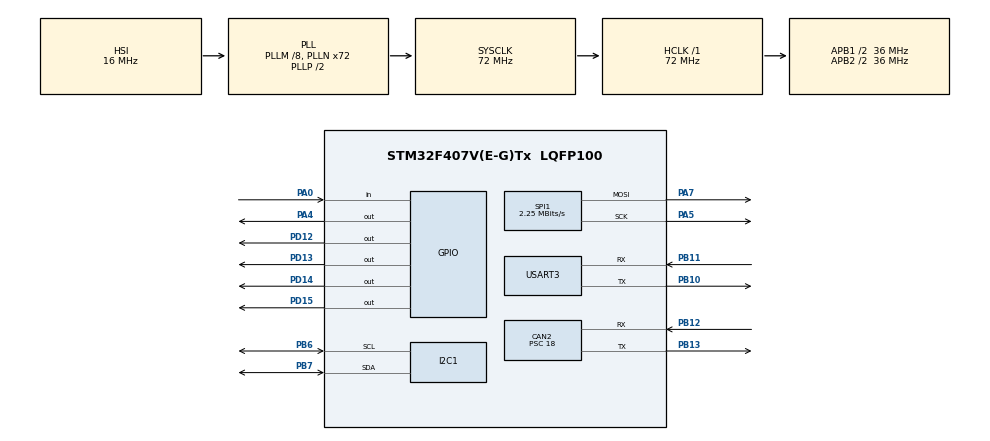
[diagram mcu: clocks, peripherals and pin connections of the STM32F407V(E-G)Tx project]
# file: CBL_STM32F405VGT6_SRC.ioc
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CAN2.BS1=CAN_BS1_10TQ
CAN2.BS2=CAN_BS2_5TQ
CAN2.CalculateBaudRate=125000
CAN2.CalculateTimeBit=8000
CAN2.CalculateTimeQuantum=500.0
CAN2.Prescaler=18
Mcu.Family=STM32F4
Mcu.Name=STM32F407V(E-G)Tx
Mcu.Package=LQFP100
NVIC.PriorityGroup=NVIC_PRIORITYGROUP_0
PA0-WKUP.Signal=GPIO_Input
PA4.Signal=GPIO_Output
PA5.Mode=TX_Only_Simplex_Unidirect_Master
PA5.Signal=SPI1_SCK
PA7.Mode=TX_Only_Simplex_Unidirect_Master
PA7.Signal=SPI1_MOSI
PB10.Mode=Asynchronous
PB10.Signal=USART3_TX
PB11.Mode=Asynchronous
PB11.Signal=USART3_RX
PB12.Mode=CAN_Activate
PB12.Signal=CAN2_RX
PB13.Mode=CAN_Activate
PB13.Signal=CAN2_TX
PB6.Mode=I2C
PB6.Signal=I2C1_SCL
PB7.Mode=I2C
PB7.Signal=I2C1_SDA
PD12.Signal=GPIO_Output
PD13.Signal=GPIO_Output
PD14.Signal=GPIO_Output
PD15.Signal=GPIO_Output
ProjectManager.HeapSize=0x200
ProjectManager.StackSize=0x400
ProjectManager.TargetToolchain=STM32CubeIDE
RCC.48MHZClocksFreq_Value=20571428.57142857
RCC.AHBFreq_Value=72000000
RCC.APB1CLKDivider=RCC_HCLK_DIV2
RCC.APB1Freq_Value=36000000
RCC.APB1TimFreq_Value=72000000
RCC.APB2CLKDivider=RCC_HCLK_DIV2
RCC.APB2Freq_Value=36000000
RCC.APB2TimFreq_Value=72000000
RCC.CortexFreq_Value=72000000
RCC.HCLKFreq_Value=72000000
RCC.HSE_VALUE=8000000
RCC.HSI_VALUE=16000000
RCC.LSE_VALUE=32768
RCC.PLLM=8
RCC.PLLN=72
RCC.PLLQ=7
RCC.SYSCLKFreq_VALUE=72000000
RCC.SYSCLKSource=RCC_SYSCLKSOURCE_PLLCLK
RCC.VCOOutputFreq_Value=144000000
SPI1.BaudRatePrescaler=SPI_BAUDRATEPRESCALER_16
SPI1.CalculateBaudRate=2.25 MBits/s
SPI1.Direction=SPI_DIRECTION_2LINES
SPI1.Mode=SPI_MODE_MASTER
SPI1.VirtualType=VM_MASTER
USART3.VirtualMode=VM_ASYNC
VP_CRC_VS_CRC.Mode=CRC_Activate
board=STM32F407G-DISC1

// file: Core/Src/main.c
/* USER CODE BEGIN Header */
/**
  ******************************************************************************
  * @file           : main.c
  * @brief          : Main program body
  ******************************************************************************
  * @attention
  *
  * Copyright (c) 2025 STMicroelectronics.
  * All rights reserved.
  *
  * This software is licensed under terms that can be found in the LICENSE file
  * in the root directory of this software component.
  * If no LICENSE file comes with this software, it is provided AS-IS.
  *
  ******************************************************************************
  */
/* USER CODE END Header */
#include "main.h"

/* USER CODE BEGIN Includes */
#include <string.h>
#include <stdio.h>
#include "lcd16x2_i2c.h"
/* USER CODE END Includes */

CAN_HandleTypeDef hcan2;

CRC_HandleTypeDef hcrc;

I2C_HandleTypeDef hi2c1;

SPI_HandleTypeDef hspi1;

UART_HandleTypeDef huart3;

void SystemClock_Config(void);
static void MX_GPIO_Init(void);
static void MX_USART3_UART_Init(void);
static void MX_CAN2_Init(void);
static void MX_CRC_Init(void);
static void MX_I2C1_Init(void);
static void MX_SPI1_Init(void);

/* USER CODE BEGIN 0 */
char DataBuffer[64];

// define a global buffer(array) of size 200 to hold received command packet
#define BL_RX_LEN  200
uint8_t bl_rx_buffer[BL_RX_LEN];

/* BL Commands */
#define BL_GET_VER					0x51
#define BL_GET_HELP					0x52
#define BL_GET_CID					0x53
#define BL_GET_RDP_STATUS			0x54
#define BL_GO_TO_ADDR				0x55
#define BL_FLASH_ERASE          	0x56
#define BL_MEM_WRITE				0x57

/* CAN DEBUG MSG send Fun */
void CAN_Send_64Bytes(uint16_t msg_id, char *pDataBuffer);

uint8_t bootloader_verify_crc (uint8_t *pData, uint32_t len, uint32_t crc_host);
void bootloader_send_ack(uint8_t command_code, uint8_t follow_len);
void bootloader_send_nack(void);
uint8_t get_bootloader_version(void);
void bootloader_uart_write_data(uint8_t *pBuffer,uint32_t len);
void bootloader_handle_getver_cmd(uint8_t *pbl_rx_buffer);

// BL supported cmd codes
uint8_t supported_commands[] =
{
      BL_GET_VER ,						//command code: 0x51
      BL_GET_HELP,						//command code: 0x52
      BL_GET_CID,						//command code: 0x53
      BL_GET_RDP_STATUS,				//command code: 0x54
      BL_GO_TO_ADDR,					//command code: 0x55
      BL_FLASH_ERASE,					//command code: 0x56
      BL_MEM_WRITE,						//command code: 0x57
      //BL_READ_SECTOR_P_STATUS			//command code: 0x08
};
void bootloader_handle_gethelp_cmd(uint8_t *pBuffer);

uint16_t get_mcu_chip_id(void);
void bootloader_handle_getcid_cmd(uint8_t *pBuffer);

uint8_t get_flash_rdp_level(void);
void bootloader_handle_getrdp_cmd(uint8_t *pBuffer);

#define ADDR_VALID 				0x00
#define ADDR_INVALID 			0x01
#define INVALID_SECTOR 			0x04

/* Start and End addresses of different memories of STM32F407VGT6 MCU */
#define SRAM1_SIZE            (112*1024)     								// STM32F407VGT6 has 112KB of SRAM1
#define SRAM1_END             (SRAM1_BASE + SRAM1_SIZE)
#define SRAM2_SIZE            (16*1024)     								// STM32F407VGT6 has 16KB of SRAM2
#define SRAM2_END             (SRAM2_BASE + SRAM2_SIZE)
#define FLASH_SIZE            (1024*1024)     								// STM32F407VGT6 has 1MB(1024KB) of Internal/Embedded Flash Memory

#define BKPSRAM_SIZE          (4*1024)     									// STM32F407VGT6 has 4KB of Backup SRAM
#define BKPSRAM_END           (BKPSRAM_BASE + BKPSRAM_SIZE)

uint8_t verify_address(uint32_t go_address);
void bootloader_handle_go_cmd(uint8_t *pBuffer);

uint8_t execute_flash_erase(uint8_t sector_number , uint8_t number_of_sector);
void bootloader_handle_flash_erase_cmd(uint8_t *pBuffer);

uint8_t execute_mem_write(uint8_t *pBuffer, uint32_t mem_address, uint32_t len);
void bootloader_handle_mem_write_cmd(uint8_t *pBuffer);

void bootloader_uart_read_data(void)
{
	uint8_t rcv_len = 0;

	while(1)
	{
		// here we will read and decode the commands coming from host
		memset(bl_rx_buffer,0,200);

		// 1. first read only one byte from the host , which is the "length" field of the command packet
		HAL_UART_Receive(&huart3, bl_rx_buffer, 1, HAL_MAX_DELAY);
		rcv_len = bl_rx_buffer[0];
		// then read actual command packet of "len" number of bytes in bl_rx_buffer[1] onwards (cmd code + crc bytes + other required data if any!)
		HAL_UART_Receive(&huart3, &bl_rx_buffer[1], rcv_len, HAL_MAX_DELAY);

		// switch to respective handler fun as per recived cmd code
		// 2. bl_rx_buffer[1] holds "cmd code" field of the command packet.
		switch(bl_rx_buffer[1])
		//@@
		{
			case BL_GET_VER:
				 // pass the complete received bl cmd from host:
				 bootloader_handle_getver_cmd(bl_rx_buffer);  		// HAL_CRC_Accumulate, ok
		 		 break;
			case BL_GET_HELP:
				bootloader_handle_gethelp_cmd(bl_rx_buffer);   		// ok
				break;
			case BL_GET_CID:
				bootloader_handle_getcid_cmd(bl_rx_buffer);	    	// ok
				break;
			case BL_GET_RDP_STATUS:
				bootloader_handle_getrdp_cmd(bl_rx_buffer);	    	// ok
				break;
			case BL_GO_TO_ADDR:
				bootloader_handle_go_cmd(bl_rx_buffer);		    	// ok. but code doesn't run?
				break;
			case BL_FLASH_ERASE:
				bootloader_handle_flash_erase_cmd(bl_rx_buffer); 	// ok. Uses HAL_FLASHEx_Erase API internally
				break;
			case BL_MEM_WRITE:
				bootloader_handle_mem_write_cmd(bl_rx_buffer);  	// nok. Uses HAL_FLASH_UNLOCK -> HAL_FLASH_Program -> HAL_FLASH_UNLOCK APIs internally
				break;
			default:
				//printf("BL_DEBUG_MSG: Invalid command code received from host\n");
				sprintf(DataBuffer, "Invalid command code received from host \n\r");
				break;
		}
	}
}

#define USER_APP_ADDR  0x08008000
//typedef void (*pFunction)(void);
void (*pFunction)(void);
void bootloader_jump_to_user_app(void)
{
    uint32_t msp_value     = *((volatile uint32_t*)(USER_APP_ADDR));          // 1. Load initial MSP
    uint32_t reset_handler = *((volatile uint32_t*)(USER_APP_ADDR+4));        // 2. Load Reset_Handler

    __disable_irq();  				// Important: stop any pending interrupts

    __set_MSP(msp_value);          // 3. Set stack pointer
    SCB->VTOR = USER_APP_ADDR;     // 4. Relocate vector table

    //pFunction JumpToApp = (pFunction) reset_handler;
    //JumpToApp();                   // 5. Jump to user application
    pFunction = (void(*)(void))reset_handler;
    pFunction();
}

/* CRC check status: Failed/Success */
#define VERIFY_CRC_FAIL    		1
#define VERIFY_CRC_SUCCESS 		0

/* ACK and NACK identification bytes */
#define BL_ACK   				0XA5
#define BL_NACK  				0X7F

// version 1.0
#define BL_VERSION 0x10

void SPI1_WriteData(char *pDataBuffer)
{
	uint8_t lenDataBuffer = strlen(pDataBuffer);
	HAL_GPIO_WritePin(GPIOA, GPIO_PIN_4, GPIO_PIN_RESET); // NSS = LOW
	HAL_SPI_Transmit(&hspi1, &lenDataBuffer, 1, HAL_MAX_DELAY);
	HAL_SPI_Transmit(&hspi1, (uint8_t*)pDataBuffer, lenDataBuffer, HAL_MAX_DELAY);
	HAL_GPIO_WritePin(GPIOA, GPIO_PIN_4, GPIO_PIN_SET); // NSS = HIGH
	//HAL_Delay(500);
}
/* USER CODE END 0 */

int main(void)
{

  /* MCU Configuration--------------------------------------------------------*/

  /* Reset of all peripherals, Initializes the Flash interface and the Systick. */
  HAL_Init();

  /* Configure the system clock */
  SystemClock_Config();

  /* Initialize all configured peripherals */
  MX_GPIO_Init();
  MX_USART3_UART_Init();
  MX_CAN2_Init();
  MX_CRC_Init();
  MX_I2C1_Init();
  MX_SPI1_Init();
  /* USER CODE BEGIN 2 */
  lcd16x2_i2c_init(&hi2c1);
  lcd16x2_i2c_1stLine();					//lcd16x2_i2c_setCursor(0, 0);
  lcd16x2_i2c_printf("BL Application");
  lcd16x2_i2c_2ndLine();					//lcd16x2_i2c_setCursor(1, 0);
  lcd16x2_i2c_printf("is running ....");
  SPI1_WriteData("Bootloader code is running...");
  HAL_CAN_Start(&hcan2);

  //bootloader_jump_to_user_app();
  if(HAL_GPIO_ReadPin(GPIOA, GPIO_PIN_0) == GPIO_PIN_SET){			// continue in bootloader mode for IAP and ... atcivities
  	  HAL_GPIO_WritePin(GPIOD, GPIO_PIN_15, GPIO_PIN_SET);
	  sprintf(DataBuffer, "BL_DEBUG_MSG: BL is running...\n\r");
	  //SPI1_WriteData(DataBuffer);
	  CAN_Send_64Bytes(0x123, DataBuffer);
  	  bootloader_uart_read_data();
    }else{															// jump to user appln
  	  HAL_GPIO_WritePin(GPIOD, GPIO_PIN_12, GPIO_PIN_SET);
  	  sprintf(DataBuffer, "BL_DEBUG_MSG: Jumping to user Appln...\n\r");
  	  //SPI1_WriteData(DataBuffer);
  	  CAN_Send_64Bytes(0x123, DataBuffer);
  	  bootloader_jump_to_user_app();
    }
  /* USER CODE END 2 */

  /* Infinite loop */
  while (1)
  {

  }
}

void SystemClock_Config(void)
{
  RCC_OscInitTypeDef RCC_OscInitStruct = {0};
  RCC_ClkInitTypeDef RCC_ClkInitStruct = {0};

  /** Configure the main internal regulator output voltage
  */
  __HAL_RCC_PWR_CLK_ENABLE();
  __HAL_PWR_VOLTAGESCALING_CONFIG(PWR_REGULATOR_VOLTAGE_SCALE1);

  /** Initializes the RCC Oscillators according to the specified parameters
  * in the RCC_OscInitTypeDef structure.
  */
  RCC_OscInitStruct.OscillatorType = RCC_OSCILLATORTYPE_HSI;
  RCC_OscInitStruct.HSIState = RCC_HSI_ON;
  RCC_OscInitStruct.HSICalibrationValue = RCC_HSICALIBRATION_DEFAULT;
  RCC_OscInitStruct.PLL.PLLState = RCC_PLL_ON;
  RCC_OscInitStruct.PLL.PLLSource = RCC_PLLSOURCE_HSI;
  RCC_OscInitStruct.PLL.PLLM = 8;
  RCC_OscInitStruct.PLL.PLLN = 72;
  RCC_OscInitStruct.PLL.PLLP = RCC_PLLP_DIV2;
  RCC_OscInitStruct.PLL.PLLQ = 7;
  if (HAL_RCC_OscConfig(&RCC_OscInitStruct) != HAL_OK)
  {
    Error_Handler();
  }

  /** Initializes the CPU, AHB and APB buses clocks
  */
  RCC_ClkInitStruct.ClockType = RCC_CLOCKTYPE_HCLK|RCC_CLOCKTYPE_SYSCLK
                              |RCC_CLOCKTYPE_PCLK1|RCC_CLOCKTYPE_PCLK2;
  RCC_ClkInitStruct.SYSCLKSource = RCC_SYSCLKSOURCE_PLLCLK;
  RCC_ClkInitStruct.AHBCLKDivider = RCC_SYSCLK_DIV1;
  RCC_ClkInitStruct.APB1CLKDivider = RCC_HCLK_DIV2;
  RCC_ClkInitStruct.APB2CLKDivider = RCC_HCLK_DIV2;

  if (HAL_RCC_ClockConfig(&RCC_ClkInitStruct, FLASH_LATENCY_2) != HAL_OK)
  {
    Error_Handler();
  }
}

static void MX_CAN2_Init(void)
{

  hcan2.Instance = CAN2;
  hcan2.Init.Prescaler = 18;
  hcan2.Init.Mode = CAN_MODE_NORMAL;
  hcan2.Init.SyncJumpWidth = CAN_SJW_1TQ;
  hcan2.Init.TimeSeg1 = CAN_BS1_10TQ;
  hcan2.Init.TimeSeg2 = CAN_BS2_5TQ;
  hcan2.Init.TimeTriggeredMode = DISABLE;
  hcan2.Init.AutoBusOff = DISABLE;
  hcan2.Init.AutoWakeUp = DISABLE;
  hcan2.Init.AutoRetransmission = DISABLE;
  hcan2.Init.ReceiveFifoLocked = DISABLE;
  hcan2.Init.TransmitFifoPriority = DISABLE;
  if (HAL_CAN_Init(&hcan2) != HAL_OK)
  {
    Error_Handler();
  }

}

static void MX_CRC_Init(void)
{

  hcrc.Instance = CRC;
  if (HAL_CRC_Init(&hcrc) != HAL_OK)
  {
    Error_Handler();
  }

}

static void MX_I2C1_Init(void)
{

  hi2c1.Instance = I2C1;
  hi2c1.Init.ClockSpeed = 100000;
  hi2c1.Init.DutyCycle = I2C_DUTYCYCLE_2;
  hi2c1.Init.OwnAddress1 = 0;
  hi2c1.Init.AddressingMode = I2C_ADDRESSINGMODE_7BIT;
  hi2c1.Init.DualAddressMode = I2C_DUALADDRESS_DISABLE;
  hi2c1.Init.OwnAddress2 = 0;
  hi2c1.Init.GeneralCallMode = I2C_GENERALCALL_DISABLE;
  hi2c1.Init.NoStretchMode = I2C_NOSTRETCH_DISABLE;
  if (HAL_I2C_Init(&hi2c1) != HAL_OK)
  {
    Error_Handler();
  }

}

static void MX_SPI1_Init(void)
{

  /* SPI1 parameter configuration*/
  hspi1.Instance = SPI1;
  hspi1.Init.Mode = SPI_MODE_MASTER;
  hspi1.Init.Direction = SPI_DIRECTION_2LINES;
  hspi1.Init.DataSize = SPI_DATASIZE_8BIT;
  hspi1.Init.CLKPolarity = SPI_POLARITY_LOW;
  hspi1.Init.CLKPhase = SPI_PHASE_1EDGE;
  hspi1.Init.NSS = SPI_NSS_SOFT;
  hspi1.Init.BaudRatePrescaler = SPI_BAUDRATEPRESCALER_16;
  hspi1.Init.FirstBit = SPI_FIRSTBIT_MSB;
  hspi1.Init.TIMode = SPI_TIMODE_DISABLE;
  hspi1.Init.CRCCalculation = SPI_CRCCALCULATION_DISABLE;
  hspi1.Init.CRCPolynomial = 10;
  if (HAL_SPI_Init(&hspi1) != HAL_OK)
  {
    Error_Handler();
  }

}

static void MX_USART3_UART_Init(void)
{

  huart3.Instance = USART3;
  huart3.Init.BaudRate = 115200;
  huart3.Init.WordLength = UART_WORDLENGTH_8B;
  huart3.Init.StopBits = UART_STOPBITS_1;
  huart3.Init.Parity = UART_PARITY_NONE;
  huart3.Init.Mode = UART_MODE_TX_RX;
  huart3.Init.HwFlowCtl = UART_HWCONTROL_NONE;
  huart3.Init.OverSampling = UART_OVERSAMPLING_16;
  if (HAL_UART_Init(&huart3) != HAL_OK)
  {
    Error_Handler();
  }

}

static void MX_GPIO_Init(void)
{
  GPIO_InitTypeDef GPIO_InitStruct = {0};

  /* GPIO Ports Clock Enable */
  __HAL_RCC_GPIOA_CLK_ENABLE();
  __HAL_RCC_GPIOB_CLK_ENABLE();
  __HAL_RCC_GPIOD_CLK_ENABLE();

  /*Configure GPIO pin Output Level */
  HAL_GPIO_WritePin(GPIOA, GPIO_PIN_4, GPIO_PIN_RESET);

  /*Configure GPIO pin Output Level */
  HAL_GPIO_WritePin(GPIOD, GPIO_PIN_12|GPIO_PIN_13|GPIO_PIN_14|GPIO_PIN_15, GPIO_PIN_RESET);

  /*Configure GPIO pin : PA0 */
  GPIO_InitStruct.Pin = GPIO_PIN_0;
  GPIO_InitStruct.Mode = GPIO_MODE_INPUT;
  GPIO_InitStruct.Pull = GPIO_NOPULL;
  HAL_GPIO_Init(GPIOA, &GPIO_InitStruct);

  /*Configure GPIO pin : PA4 */
  GPIO_InitStruct.Pin = GPIO_PIN_4;
  GPIO_InitStruct.Mode = GPIO_MODE_OUTPUT_PP;
  GPIO_InitStruct.Pull = GPIO_NOPULL;
  GPIO_InitStruct.Speed = GPIO_SPEED_FREQ_LOW;
  HAL_GPIO_Init(GPIOA, &GPIO_InitStruct);

  /*Configure GPIO pins : PD12 PD13 PD14 PD15 */
  GPIO_InitStruct.Pin = GPIO_PIN_12|GPIO_PIN_13|GPIO_PIN_14|GPIO_PIN_15;
  GPIO_InitStruct.Mode = GPIO_MODE_OUTPUT_PP;
  GPIO_InitStruct.Pull = GPIO_NOPULL;
  GPIO_InitStruct.Speed = GPIO_SPEED_FREQ_LOW;
  HAL_GPIO_Init(GPIOD, &GPIO_InitStruct);

}

/* USER CODE BEGIN 4 */
void CAN_Send_64Bytes(uint16_t msg_id, char *pDataBuffer)
{
	CAN_TxHeaderTypeDef TxHeader;
	uint32_t TxMailbox;

    TxHeader.StdId = msg_id;        // CAN ID
    TxHeader.RTR = CAN_RTR_DATA;
    TxHeader.IDE = CAN_ID_STD;
    TxHeader.DLC = 8;              // Always sending 8 bytes
    TxHeader.TransmitGlobalTime = DISABLE;

    for (int i = 0; i < 64; i += 8)
    {
        // Take 8 bytes from array
        uint8_t TxData[8];
        for (int j = 0; j < 8; j++)
        {
            TxData[j] = pDataBuffer[i + j];
        }

        // Send frame
        if (HAL_CAN_AddTxMessage(&hcan2, &TxHeader, TxData, &TxMailbox) != HAL_OK)
        {
            // Handle transmission error
        }

        // Optional: wait for Tx complete before sending next
        while (HAL_CAN_IsTxMessagePending(&hcan2, TxMailbox));
    }
}

// This verifies the CRC of the given buffer in pData .
uint8_t bootloader_verify_crc (uint8_t *pData, uint32_t len, uint32_t crc_host)
{
    uint32_t uwCRCValue = 0xff;

    for (uint32_t i=0 ; i < len ; i++)
	{
        uint32_t i_data = pData[i];
        uwCRCValue = HAL_CRC_Accumulate(&hcrc, &i_data, 1);
	}

	 /* Reset CRC Calculation Unit */
     __HAL_CRC_DR_RESET(&hcrc);

	if( uwCRCValue == crc_host)
	{
		return VERIFY_CRC_SUCCESS;
	}
	return VERIFY_CRC_FAIL;
}
/*This function sends ACK if CRC matches along with "len to follow"*/
void bootloader_send_ack(uint8_t command_code, uint8_t follow_len)
{
	 // here we send 2 byte.. first byte is ack and the second byte is len value
	uint8_t ack_buf[2];
	ack_buf[0] = BL_ACK;
	ack_buf[1] = follow_len;
	HAL_UART_Transmit(&huart3, ack_buf, 2, HAL_MAX_DELAY);
}
/*This function sends NACK */
void bootloader_send_nack(void)
{
	uint8_t nack = BL_NACK;
	HAL_UART_Transmit(&huart3, &nack, 1, HAL_MAX_DELAY);
}
/* Just returns the BL_VERSION macro value */
uint8_t get_bootloader_version(void)
{
  return (uint8_t)BL_VERSION;
}
/* This function writes data in to C_UART */
void bootloader_uart_write_data(uint8_t *pBuffer,uint32_t len)
{
    /*you can replace the below ST's USART driver API call with your MCUs driver API call */
	HAL_UART_Transmit(&huart3, pBuffer, len, HAL_MAX_DELAY);
}
/* Note: p_bl_rx_buffer has "ptr to the whole cmd packet" received from host */
void bootloader_handle_getver_cmd(uint8_t *pbl_rx_buffer)
{
	uint8_t bl_version;

	// 1. get the value of cmd packet len
	uint32_t command_packet_len = pbl_rx_buffer[0]+1;
	// 2. extract the value of host crc
	uint32_t host_crc = *((uint32_t * )(pbl_rx_buffer + command_packet_len - 4));

	// 3. verify checksum (crc check)
	if (!bootloader_verify_crc(&pbl_rx_buffer[0], command_packet_len-4, host_crc))
	{
			sprintf(DataBuffer, "BL_DEBUG_MSG: Checksum success !! \n\r");
	        // checksum is correct send ack code with 1 byte(version number) len to follow.
	        bootloader_send_ack(pbl_rx_buffer[0], 1);
	        // get version number
	        bl_version = get_bootloader_version();
	        sprintf(DataBuffer, "BL_DEBUG_MSG: BL_VER : %d %#x\n",bl_version, bl_version);
	        // send it over communication uart interface
	        bootloader_uart_write_data(&bl_version, 1);
	}else
	{
			sprintf(DataBuffer, "BL_DEBUG_MSG: Checksum fail !! \n\r");
	        // checksum is wrong send nack
	        bootloader_send_nack();
	}
}
void bootloader_handle_gethelp_cmd(uint8_t *pBuffer)
{
    sprintf(DataBuffer, "BL_DEBUG_MSG:bootloader_handle_gethelp_cmd \n\r");

	// 1. Get Total length of the command packet
	uint32_t command_packet_len = bl_rx_buffer[0]+1 ;

	//2. extract the CRC32 sent by the Host
	uint32_t host_crc = *((uint32_t * ) (bl_rx_buffer+command_packet_len - 4) ) ;

	// 3. verify checksum
	if (!bootloader_verify_crc(&bl_rx_buffer[0],command_packet_len-4,host_crc))
	{
        sprintf(DataBuffer, "BL_DEBUG_MSG:checksum success !!\n\r");
        bootloader_send_ack(pBuffer[0],sizeof(supported_commands));
        bootloader_uart_write_data(supported_commands,sizeof(supported_commands));

	}else
	{
        sprintf(DataBuffer, "BL_DEBUG_MSG:checksum fail !!\n\r");
        bootloader_send_nack();
	}

}

// Read the chip identifier or device Identifier
uint16_t get_mcu_chip_id(void)
{
/*
	The STM32F407vgt6 MCUs integrate an MCU ID code. This ID identifies the ST MCU partnumber
	and the die revision. It is part of the DBG_MCU component and is mapped on the
	external PPB bus (see Section 33.16 on page 1304). This code is accessible using the
	JTAG debug pCat.2ort (4 to 5 pins) or the SW debug port (two pins) or by the user software.
	It is even accessible while the MCU is under system reset. */
	uint16_t cid;
	// 0xE0042000UL
	cid = (uint16_t)( (DBGMCU->IDCODE) & 0x0FFF );
	return  cid;

}
/*Helper function to handle BL_GET_CID command */
void bootloader_handle_getcid_cmd(uint8_t *pBuffer)
{
	uint16_t bl_cid_num = 0;
	sprintf(DataBuffer, "bootloader_handle_getcid_cmd\n\r");

    // 1. Total length of the command packet
	uint32_t command_packet_len = bl_rx_buffer[0]+1 ;

	// 2. extract the CRC32 sent by the Host
	uint32_t host_crc = *((uint32_t * ) (bl_rx_buffer+command_packet_len - 4) ) ;

	// 3. verify data integrity
	if (! bootloader_verify_crc(&bl_rx_buffer[0],command_packet_len-4,host_crc))
	{
		sprintf(DataBuffer, "BL_DEBUG_MSG:checksum success !!\n\r");
        bootloader_send_ack(pBuffer[0],2);
        bl_cid_num = get_mcu_chip_id();
        bootloader_uart_write_data((uint8_t *)&bl_cid_num,2);
	}else
	{
		sprintf(DataBuffer, "BL_DEBUG_MSG:checksum fail !!\n\r");
        bootloader_send_nack();
	}

}

/*This function reads the RDP ( Read protection option byte) value
 *For more info refer "Table 16. Description of the option bytes" in stm32f407vgt6 RM0090
 *Bits 15:8
 *0xAA: Level 0, no protection
 *0xCC: Level 2, chip protection (debug and boot from RAM features disabled)
 *Others: Level 1, read protection of memories (debug features limited)
 */
uint8_t get_flash_rdp_level(void)
{

	uint8_t rdp_status=0;
#if 0
	FLASH_OBProgramInitTypeDef  ob_handle;
	HAL_FLASHEx_OBGetConfig(&ob_handle);
	rdp_status = (uint8_t)ob_handle.RDPLevel;
#else
	 volatile uint32_t *pOB_addr = (uint32_t*) 0x1FFFC000;
	 rdp_status =  (uint8_t)(*pOB_addr >> 8) ;
#endif

	return rdp_status;

}
/*Helper function to handle BL_GET_RDP_STATUS command */
void bootloader_handle_getrdp_cmd(uint8_t *pBuffer)
{
    uint8_t rdp_level = 0x00;
    sprintf(DataBuffer, "BL_DEBUG_MSG:bootloader_handle_getrdp_cmd\n\r");

    // 1. GetTotal length of the command packet
	uint32_t command_packet_len = bl_rx_buffer[0]+1 ;

	// 2. extract the CRC32 sent by the Host
	uint32_t host_crc = *((uint32_t * ) (bl_rx_buffer+command_packet_len - 4) ) ;

	// 3. verify crc
	if (! bootloader_verify_crc(&bl_rx_buffer[0],command_packet_len-4,host_crc))
	{
		sprintf(DataBuffer, "BL_DEBUG_MSG:checksum success !!\n\r");
        bootloader_send_ack(pBuffer[0],1);
        rdp_level = get_flash_rdp_level();
        bootloader_uart_write_data(&rdp_level,1);

	}else
	{
		sprintf(DataBuffer, "BL_DEBUG_MSG:checksum fail !!\n\r");
        bootloader_send_nack();
	}
}

/* this fun verify the address sent by the host */
uint8_t verify_address(uint32_t go_address)
{
	/*
	 	so, what are the valid addresses to which we can jump ?
		can we jump to system memory ? yes
		can we jump to sram1 memory ?  yes
		can we jump to sram2 memory ? yes
		can we jump to backup sram memory ? yes
		can we jump to peripheral memory ? its possible , but dont allow. so no
		can we jump to external memory ? yes.
	*/

	// incomplete - poorly written .. optimize it
	if ( go_address >= SRAM1_BASE && go_address <= SRAM1_END)
	{
		return ADDR_VALID;
	}
	else if ( go_address >= SRAM2_BASE && go_address <= SRAM2_END)
	{
		return ADDR_VALID;
	}
	else if ( go_address >= FLASH_BASE && go_address <= FLASH_END)
	{
		return ADDR_VALID;
	}
	else if ( go_address >= BKPSRAM_BASE && go_address <= BKPSRAM_END)
	{
		return ADDR_VALID;
	}
	else
		return ADDR_INVALID;
}
/* Helper function to handle BL_GO_TO_ADDR command */
void bootloader_handle_go_cmd(uint8_t *pBuffer)
{
    uint32_t go_address = 0;
    uint8_t addr_valid = ADDR_VALID;
    uint8_t addr_invalid = ADDR_INVALID;
    sprintf(DataBuffer, "BL_DEBUG_MSG: bootloader_handle_go_cmd\n\r");

    // 1. Get Total length of the command packet
	uint32_t command_packet_len = bl_rx_buffer[0]+1 ;

	// 2. extract the CRC32 sent by the Host
	uint32_t host_crc = *((uint32_t * ) (bl_rx_buffer + command_packet_len - 4) ) ;

	// 3. calculate CRC
	if (!bootloader_verify_crc(&bl_rx_buffer[0],command_packet_len-4,host_crc))
	{
		sprintf(DataBuffer, "BL_DEBUG_MSG:checksum success !!\n\r");

        bootloader_send_ack(pBuffer[0],1);

        // extract the go address from cmd packet sent by host
        go_address = *((uint32_t *)&pBuffer[2] );
        //printf("BL_DEBUG_MSG:GO addr: %#x\n",go_address);

        if( verify_address(go_address) == ADDR_VALID )
        {
            // tell host that address is fine
            bootloader_uart_write_data(&addr_valid, 1);

            /*jump to "go" address.
            we dont care what is being done there.
            host must ensure that valid code is present over there
            Its not the duty of bootloader. so just trust and jump */

            /* Not doing the below line will result in hardfault exception for ARM cortex M */
            go_address += 1; // make T bit = 1 (thumb mode, arm cm3/4 can't execute in arm mode)

            void (*lets_jump)(void) = (void *)go_address;
            sprintf(DataBuffer, "BL_DEBUG_MSG: jumping to go address! \n\r");
            lets_jump();
		}else
		{
            sprintf(DataBuffer, "BL_DEBUG_MSG: GO addr invalid ! \n\r");
            //tell host that address is invalid
            bootloader_uart_write_data(&addr_invalid, 1);
		}
	}else
	{
		sprintf(DataBuffer, "BL_DEBUG_MSG:checksum fail !!\n\r");
        bootloader_send_nack();
	}
}
uint8_t execute_flash_erase(uint8_t sector_number , uint8_t number_of_sector)
{
    // we have totally 11 sectors in STM32F407vgt6 mcu .. sector[0 to 11]
	// number_of_sector has to be in the range of 0 to 11
	// if sector_number = 0xff , that means mass erase !
	FLASH_EraseInitTypeDef flashErase_handle;
	uint32_t sectorError;
	HAL_StatusTypeDef status;

	if( number_of_sector > 11 )
		return INVALID_SECTOR;

	if( (sector_number == 0xff ) || (sector_number <= 11) )
	{
		if(sector_number == (uint8_t) 0xff)
		{
			flashErase_handle.TypeErase = FLASH_TYPEERASE_MASSERASE;
		}else
		{
		    /*Here we are just calculating how many sectors needs to erased */
			uint8_t remanining_sector = 11 - sector_number;
            if( number_of_sector > remanining_sector)
            {
            	number_of_sector = remanining_sector;
            }
			flashErase_handle.TypeErase = FLASH_TYPEERASE_SECTORS;
			flashErase_handle.Sector = sector_number; // this is the initial sector
			flashErase_handle.NbSectors = number_of_sector;
		}
		flashErase_handle.Banks = FLASH_BANK_1;

		/*Get access to touch the flash registers */
		HAL_FLASH_Unlock();
		flashErase_handle.VoltageRange = FLASH_VOLTAGE_RANGE_3;  // our mcu will work on this voltage range
		status = (uint8_t) HAL_FLASHEx_Erase(&flashErase_handle, &sectorError);
		HAL_FLASH_Lock();

		return status;
	}

	return INVALID_SECTOR;
}

/*Helper function to handle BL_FLASH_ERASE command */
void bootloader_handle_flash_erase_cmd(uint8_t *pBuffer)
{
    uint8_t erase_status = 0x00;
    sprintf(DataBuffer, "BL_DEBUG_MSG: bootloader_handle_flash_erase_cmd \n\r");

    // 1. Get Total length of the command packet
	uint32_t command_packet_len = bl_rx_buffer[0]+1 ;

	// 2. extract the CRC32 sent by the Host
	uint32_t host_crc = *((uint32_t * ) (bl_rx_buffer+command_packet_len - 4) ) ;

	// 3. verify data integrity
	if (! bootloader_verify_crc(&bl_rx_buffer[0],command_packet_len-4,host_crc))
	{
		sprintf(DataBuffer, "BL_DEBUG_MSG:checksum success !!\n\r");
        bootloader_send_ack(pBuffer[0],1);
        sprintf(DataBuffer, "BL_DEBUG_MSG:initial_sector : %d  no_ofsectors: %d \n\r",pBuffer[2],pBuffer[3]);
        //HAL_GPIO_WritePin(LD2_GPIO_Port, LD2_Pin,1);
        erase_status = execute_flash_erase(pBuffer[2] , pBuffer[3]);
        //HAL_GPIO_WritePin(LD2_GPIO_Port, LD2_Pin,0);

        bootloader_uart_write_data(&erase_status,1);
	}else
	{
		sprintf(DataBuffer, "BL_DEBUG_MSG:checksum fail !!\n\r");
        bootloader_send_nack();
	}
}

uint8_t execute_mem_write(uint8_t *pBuffer, uint32_t mem_address, uint32_t len)
{
    uint8_t status=HAL_OK;

    //We have to unlock flash module to get control of registers
    HAL_FLASH_Unlock();

    for(uint32_t i = 0 ; i <len ; i++)
    {
        //Here we program the flash byte by byte
        status = HAL_FLASH_Program(FLASH_TYPEPROGRAM_BYTE,mem_address+i,pBuffer[i]);
    }

    HAL_FLASH_Lock();

    return status;
}
/*Helper function to handle BL_MEM_WRITE command */
void bootloader_handle_mem_write_cmd(uint8_t *pBuffer)
{
	uint8_t write_status = 0x00;
	uint8_t payload_len = pBuffer[6];
	uint32_t mem_address = *((uint32_t *) ( &pBuffer[2]) );
	sprintf(DataBuffer, "BL_DEBUG_MSG: bootloader_handle_mem_write_cmd \n\r");

    // 1. Get Total length of the command packet
	uint32_t command_packet_len = bl_rx_buffer[0]+1 ;

	// 2. extract the CRC32 sent by the Host
	uint32_t host_crc = *((uint32_t * ) (bl_rx_buffer+command_packet_len - 4) ) ;

	// 3. verify data integrity
	if (! bootloader_verify_crc(&bl_rx_buffer[0],command_packet_len-4,host_crc))
	{
		sprintf(DataBuffer, "BL_DEBUG_MSG:checksum success !!\n\r");
        bootloader_send_ack(pBuffer[0],1);

		if( verify_address(mem_address) == ADDR_VALID )
		{
			sprintf(DataBuffer, "BL_DEBUG_MSG: valid mem write address \n\r");

            //glow the led to indicate bootloader is currently writing to memory
            //HAL_GPIO_WritePin(LD2_GPIO_Port, LD2_Pin, GPIO_PIN_SET);

            //execute mem write
            write_status = execute_mem_write(&pBuffer[7],mem_address, payload_len);

            //turn off the led to indicate memory write is over
            //HAL_GPIO_WritePin(LD2_GPIO_Port, LD2_Pin, GPIO_PIN_RESET);

            //inform host about the status
            bootloader_uart_write_data(&write_status,1);
		}else
		{
            sprintf(DataBuffer, "BL_DEBUG_MSG: invalid mem write address \n\r");
            write_status = ADDR_INVALID;
            //inform host that address is invalid
            bootloader_uart_write_data(&write_status,1);
		}
	}else
	{
		sprintf(DataBuffer, "BL_DEBUG_MSG:checksum fail !!\n\r");
        bootloader_send_nack();
	}
}
//@#
/* USER CODE END 4 */

void Error_Handler(void)
{
  __disable_irq();
  while (1)
  {
  }
}
